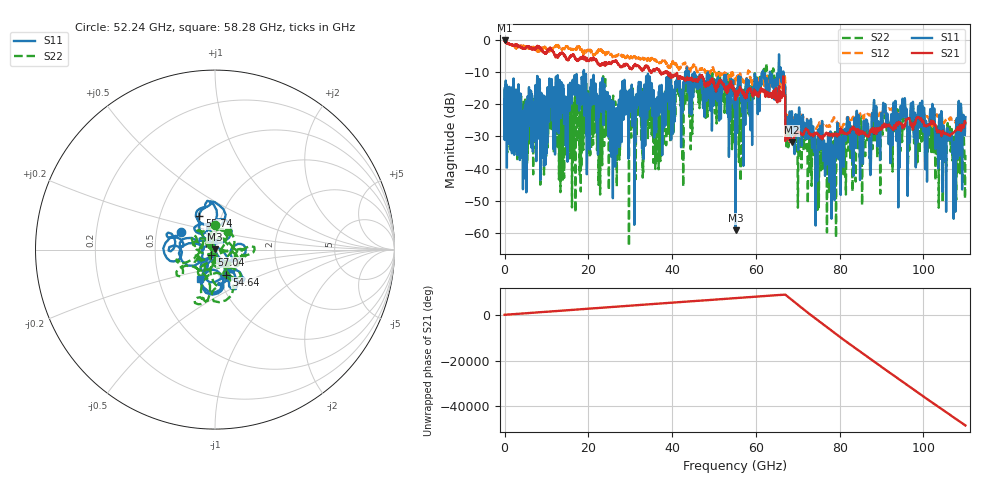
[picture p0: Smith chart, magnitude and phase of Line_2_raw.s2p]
#  HZ  S  RI  R  50.00
! Rohde & Schwarz ZVA67 4Ports - Version 4.11 - 1305.7002k04 SN: 101032
! Date: 2026-02-18 15:13:16
! Measurements: S11 S21 S12 S22
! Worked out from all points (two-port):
!   5500 points, 20 MHz to 110 GHz, reference 50 ohm
!   highest |S21| = -0.14 dB at 40 MHz (marker M1); lowest = -31.8 dB at 68.52 GHz (marker M2)
!   |S21| within 3 dB of the highest: start of sweep to 8.874 GHz; 10.42 GHz to 11.23 GHz (809.9 MHz wide, 7.48 % of centre)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
!   lowest |S11| = -59.2 dB at 55.14 GHz (marker M3), VSWR 1.00, Z = 50 + j0.104 ohm
!   |S11| at or under -10 dB: start of sweep to 18.87 GHz; 18.97 GHz to 43.12 GHz (24.15 GHz wide, 77.8 % of centre); 66.54 GHz to end of sweep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
!   |S22| runs from -64.1 to -7.3 dB; largest |S21 - S12| = 1.9
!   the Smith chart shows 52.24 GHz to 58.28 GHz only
!   S11 on the Smith chart (normalised r, x): 52.24 GHz: 0.67, +0.14; 54.64 GHz: 1.09, -0.32; 55.74 GHz: 0.79, +0.31; 57.04 GHz: 0.96, -0.05; 58.28 GHz: 0.80, -0.28
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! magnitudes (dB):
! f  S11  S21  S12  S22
! 20 MHz  -15.1  -0.2  -0.6  -16.0
! 40 MHz  -31.1  -0.1  -0.4  -27.3
! 4.52 GHz  -25.8  -2.6  -1.8  -36.9
! 18.36 GHz  -14.7  -5.5  -3.0  -24.7
! 26.34 GHz  -24.5  -6.5  -5.0  -29.9
! 28.64 GHz  -12.5  -8.0  -5.8  -14.8
! 36.68 GHz  -23.5  -9.2  -7.1  -23.2
! 39.26 GHz  -13.6  -11.0  -8.5  -12.6
! 52.24 GHz  -13.4  -13.8  -10.5  -17.2
! 54.64 GHz  -16.2  -15.7  -11.4  -23.0
! 55.02 GHz  -16.3  -17.3  -13.3  -18.6
! 55.14 GHz  -59.2  -18.1  -13.7  -38.4
! 55.74 GHz  -13.7  -15.9  -11.4  -18.8
! 57.04 GHz  -29.1  -16.8  -13.0  -19.8
! 58.28 GHz  -14.5  -15.5  -10.0  -18.1
! 65.88 GHz  -9.1  -16.4  -13.7  -11.2
! 68.52 GHz  -22.7  -31.8  -24.7  -26.0
! 73.34 GHz  -31.7  -29.5  -28.0  -41.5
! 91.68 GHz  -32.2  -26.4  -21.3  -27.4
! 102.1 GHz  -20.0  -26.1  -26.9  -25.0
! 107.2 GHz  -54.0  -28.9  -24.9  -30.4
! 110 GHz  -24.0  -25.7  -26.5  -35.8
